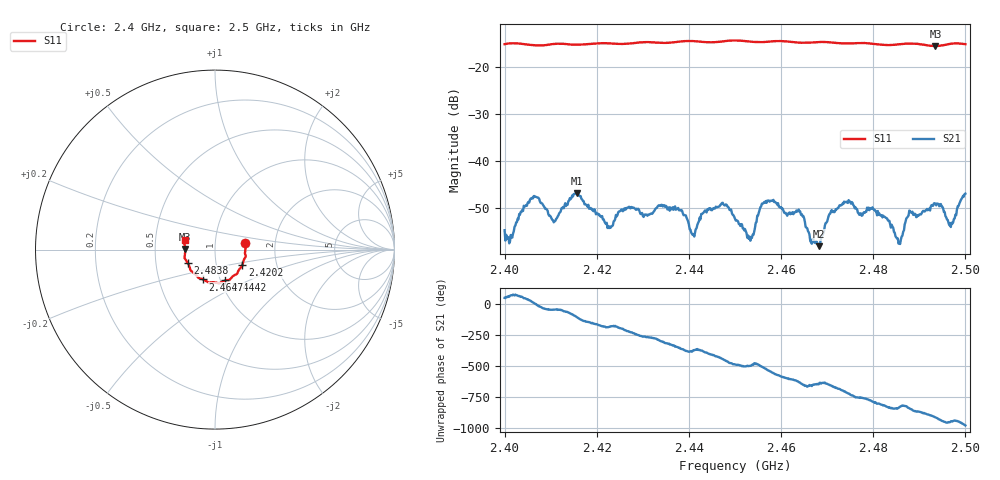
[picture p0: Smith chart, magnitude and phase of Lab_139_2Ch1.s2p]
# Hz S RI R 50
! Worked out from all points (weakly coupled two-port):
!   601 points, 2.4 GHz to 2.5 GHz, reference 50 ohm
!   highest |S21| = -46.87 dB at 2.4157 GHz (marker M1); lowest = -58.2 dB at 2.4682 GHz (marker M2)
!   lowest |S11| = -15.6 dB at 2.4935 GHz (marker M3), VSWR 1.40, Z = 35.8 + j0.091 ohm
!   |S11| at or under -10 dB: start of sweep to end of sweep
!   S12 and S22 are empty: the file has one direction only
!   S11 on the Smith chart (normalised r, x): 2.4 GHz: 1.40, +0.11; 2.4202 GHz: 1.34, -0.24; 2.4442 GHz: 1.06, -0.37; 2.4647 GHz: 0.83, -0.29; 2.4838 GHz: 0.73, -0.11; 2.5 GHz: 0.71, +0.08
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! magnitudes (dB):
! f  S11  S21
! 2.4 GHz  -15.2  -54.8
! 2.4062 GHz  -15.4  -48.0
! 2.4108 GHz  -15.2  -52.9
! 2.4157 GHz  -15.4  -46.9
! 2.4167 GHz  -15.3  -48.1
! 2.4202 GHz  -15.1  -51.2
! 2.4333 GHz  -14.9  -49.6
! 2.4408 GHz  -14.6  -55.8
! 2.4442 GHz  -14.8  -50.5
! 2.45 GHz  -14.4  -52.4
! 2.4532 GHz  -14.7  -56.2
! 2.4568 GHz  -14.7  -49.0
! 2.4647 GHz  -14.9  -51.8
! 2.4667 GHz  -14.9  -57.7
! 2.4682 GHz  -14.8  -58.2
! 2.4742 GHz  -15.1  -48.7
! 2.4833 GHz  -15.4  -52.8
! 2.4838 GHz  -15.4  -54.3
! 2.4857 GHz  -15.3  -57.3
! 2.4935 GHz  -15.6  -49.2
! 2.4968 GHz  -15.2  -54.1
! 2.5 GHz  -15.2  -47.0
